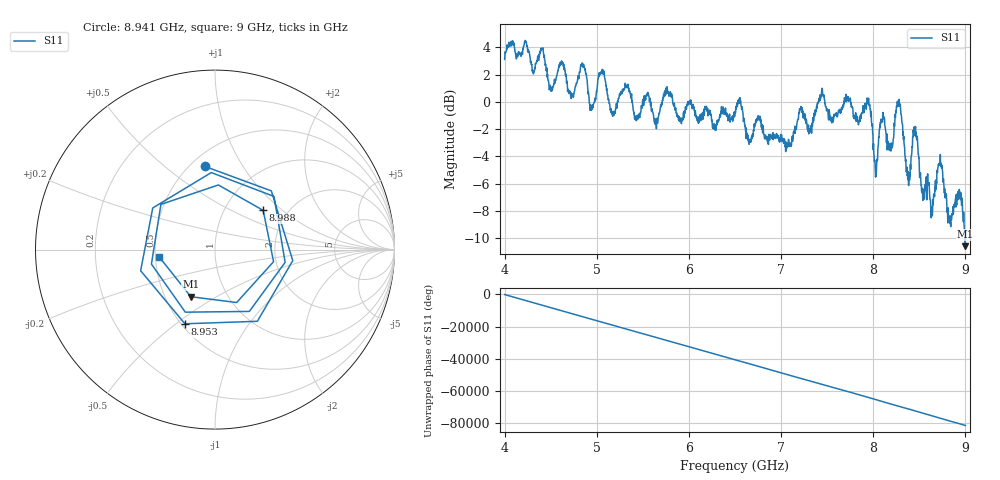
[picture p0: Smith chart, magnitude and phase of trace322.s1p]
! Created with skrf 1.8.0 (http://scikit-rf.org).
# Hz S RI R 50.0
!freq ReS11 ImS11
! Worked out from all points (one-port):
!   1601 points, 4 GHz to 9 GHz, reference 50 ohm
!   lowest |S11| = -10.6 dB at 8.997 GHz (marker M1), VSWR 1.84, Z = 33.7 - j19.4 ohm
!   |S11| at or under -10 dB: 8.994297 GHz to end of sweep
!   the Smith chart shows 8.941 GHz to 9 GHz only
!   S11 on the Smith chart (normalised r, x): 8.941 GHz: 0.59, +0.70; 8.953 GHz: 0.52, -0.54; 8.988 GHz: 1.51, +0.75; 9 GHz: 0.52, -0.05
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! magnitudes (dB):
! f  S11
! 4 GHz  3.1
! 4.506 GHz  0.9
! 4.625 GHz  2.9
! 4.728 GHz  0.4
! 4.85 GHz  2.7
! 4.944 GHz  -0.4
! 5.056 GHz  2.2
! 5.169 GHz  -0.8
! 5.25 GHz  0.5
! 5.875 GHz  -1.1
! 6.5 GHz  -0.9
! 7.125 GHz  -2.9
! 7.75 GHz  0.3
! 7.953 GHz  -0.2
! 8.025 GHz  -5.5
! 8.094 GHz  -1.3
! 8.188 GHz  -3.5
! 8.278 GHz  -0.2
! 8.375 GHz  -5.7
! 8.453 GHz  -2.3
! 8.634 GHz  -7.7
! 8.725 GHz  -4.6
! 8.828 GHz  -8.4
! 8.941 GHz  -6.6
! 8.953 GHz  -7.0
! 8.988 GHz  -9.2
! 8.997 GHz  -10.6
! 9 GHz  -10.1
